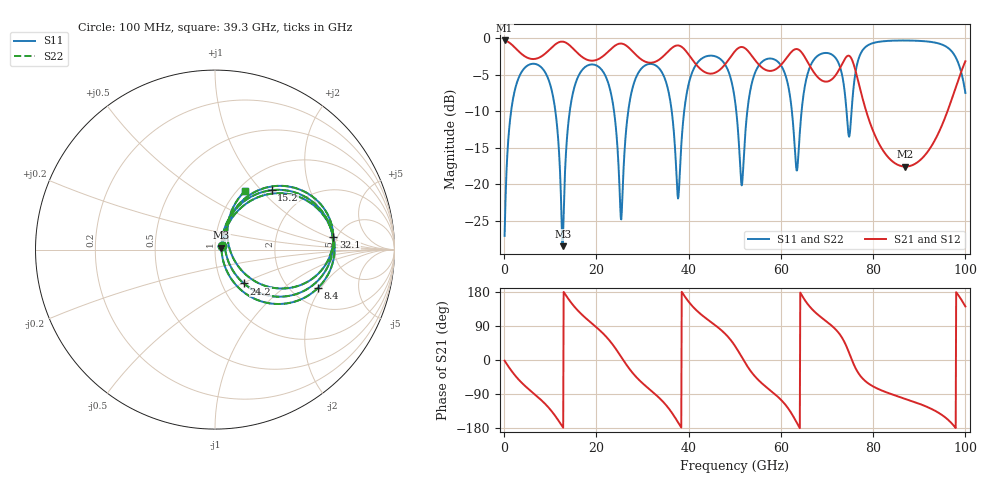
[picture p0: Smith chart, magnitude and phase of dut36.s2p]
! Touchstone file exported from HFSS 2026.1.0
!  File:  C:/ffzhzh/LocalFiles/Ansys_Project_Files/temp_train_TSV_RDL_36_1783618055_29156.aedt
!  Generated:  01:58:21 AM Jul 10, 2026
!  Design:  TSV_RDL
!  Project:  temp_train_TSV_RDL_36_1783618055_29156
! Variables:
!  h_bsmrdl = 3.41um
!  h_ox = 20um
!  h_rdl = 5um
!  h_sub = 67.35um
!  h_tmrdl = 2.8um
!  h_tsv = 67.35um
!  h_via = 3um
!  l_bsmrdl = 683.13um
!  l_sub = 4708.01um
!  l_tmrdl = 544.81um
!  m_sub = 200um
!  pitch = 52.2um
!  r_tsv = 9.87um
!  s_tmrdl = 10um
!  w_bsmrdl = 14.8um
!  w_sub = 500um
!  w_tmrdl = 11.66um
!  x_tsv_center1 = 550.64um
!  x_tsv_center2 = 1248.57um
!  x_tsv_center3 = 1805.04um
!  x_tsv_center4 = 2502.97um
!  x_tsv_center5 = 3059.44um
!  x_tsv_center6 = 3757.37um
# GHz S MA R 50.000000
! Terminal data exported
! Port[1] = TM_RDL1_1_T1
! Port[2] = TM_RDL5_1_T1
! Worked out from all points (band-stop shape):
!   1000 points, 100 MHz to 100 GHz, reference 50 ohm
!   highest |S21| = -0.34 dB at 100 MHz (marker M1); lowest = -17.6 dB at 87 GHz (marker M2)
!   |S21| within 3 dB of the highest: start of sweep to 31.06 GHz; 32.36 GHz to 41.25 GHz (8.889 GHz wide, 24.1 % of centre) (the widest 2 of 6)
!   lowest |S11| = -28.5 dB at 12.7 GHz (marker M3), VSWR 1.08, Z = 53.7 + j1.16 ohm
!   |S11| at or under -10 dB: 11.11 GHz to 14.23 GHz (3.121 GHz wide, 24.6 % of centre); 23.82 GHz to 26.9 GHz (3.085 GHz wide, 12.2 % of centre); 36.33 GHz to 39.04 GHz (2.709 GHz wide, 7.19 % of centre) (the widest 3 of 7)
!   |S22| runs from -28.5 to -0.3 dB; largest |S21 - S12| = 2.4e-12
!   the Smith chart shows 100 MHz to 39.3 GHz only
!   S11 on the Smith chart (normalised r, x): 100 MHz: 1.08, +0.05; 8.4 GHz: 2.77, -1.88; 15.2 GHz: 1.37, +1.15; 24.2 GHz: 1.27, -0.51; 32.1 GHz: 4.62, +1.19; 39.3 GHz: 1.08, +0.82
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0.1  0.04423 29.8  0.9621 -1.9  0.9621 -1.9  0.04423 29.8
! Gamma 0 0 0 0
! Port Impedance 50 0 50 0
2.5  0.4632 42.7  0.8492 -42.7  0.8492 -42.7  0.4632 42.7
8.4  0.6132 -20.2  0.7603 -109.9  0.7603 -109.9  0.6132 -20.2
12.7  0.03761 16.7  0.9445 -176.7  0.9445 -176.7  0.03762 16.6
15.2  0.4575 46.3  0.8307 141.1  0.8307 141.1  0.4575 46.3
16.8  0.5978 27.7  0.7462 120.4  0.7462 120.4  0.5977 27.6
24.2  0.2482 -49.5  0.8933 29.5  0.8933 29.5  0.2481 -49.6
25.4  0.05733 15.1  0.9161 7.6  0.9161 7.6  0.05661 15.2
32.1  0.6632 6.3  0.6785 -83.4  0.6785 -83.4  0.6632 6.3
33.4  0.6294 -6.2  0.7041 -97.5  0.7041 -97.5  0.6294 -6.1
37.7  0.07971 11.8  0.8894 -164.4  0.8894 -164.4  0.07964 11.8
39.3  0.3671 62.8  0.8222 165.3  0.8222 165.3  0.3671 62.8
45.1  0.7569 7.3  0.5712 97.8  0.5712 97.8  0.7569 7.3
50.1  0.3619 -40.7  0.8162 36.1  0.8162 36.1  0.3618 -40.8
54.1  0.5446 43.1  0.7261 -39.3  0.7261 -39.3  0.5445 43.1
60.3  0.6275 -13.9  0.6697 -108.6  0.6697 -108.6  0.6275 -13.9
63.5  0.124 18.5  0.8401 -166.6  0.8401 -166.6  0.1239 18.6
66.7  0.6743 38.2  0.6118 134.8  0.6118 134.8  0.6743 38.2
75  0.231 32.8  0.7473 12.2  0.7473 12.2  0.2322 32.7
83.4  0.9562 -0.3  0.151 -87.7  0.151 -87.7  0.9562 -0.3
87  0.9614 -12.9  0.1318 -102.6  0.1318 -102.6  0.9614 -12.9
100  0.4206 -107.8  0.6933 141.3  0.6933 141.3  0.4204 -107.9
